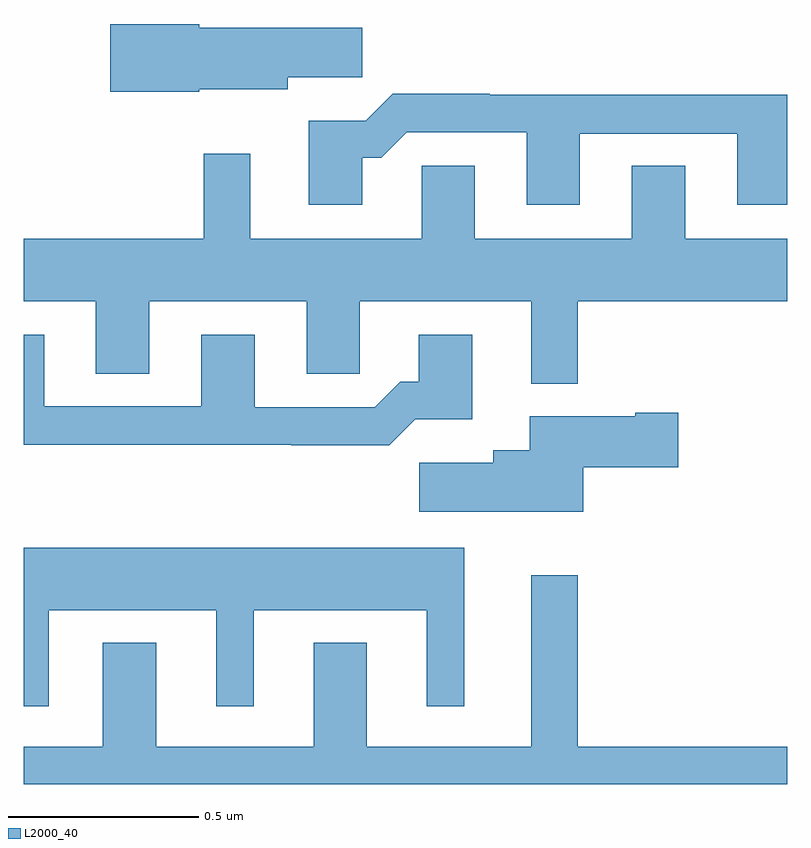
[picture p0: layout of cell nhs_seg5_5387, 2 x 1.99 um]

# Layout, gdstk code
import gdstk
lib = gdstk.Library(unit=1e-6, precision=1e-09)
def P(c, l, *ps):  # polygons
    for p in ps: c.add(gdstk.Polygon(p, *l))
L2000_40 = (2000, 40)

nhs_seg5_5387 = lib.new_cell('nhs_seg5_5387')
P(nhs_seg5_5387, L2000_40, [(182.46,886.619),(182.692,886.619),(182.692,886.651),(182.887,886.651),(182.887,886.78),(182.46,886.78),(182.46,886.79),(182.226,886.79),(182.226,886.612),(182.46,886.612)],
  [(182.887,886.439),(182.936,886.439),(183.003,886.506),(183.317,886.506),(183.317,886.317),(183.457,886.317),(183.457,886.503),(183.869,886.503),(183.869,886.317),(184,886.317),(184,886.604),(183.221,886.604),(183.221,886.607),(182.966,886.607),(182.896,886.537),(182.747,886.537),(182.747,886.317),(182.887,886.317)],
  [(183.451,886.064),(184,886.064),(184,886.228),(183.733,886.228),(183.733,886.418),(183.593,886.418),(183.593,886.228),(183.181,886.228),(183.181,886.418),(183.042,886.418),(183.042,886.228),(182.593,886.228),(182.593,886.45),(182.472,886.45),(182.472,886.228),(182,886.228),(182,886.064),(182.189,886.064),(182.189,885.874),(182.329,885.874),(182.329,886.064),(182.741,886.064),(182.741,885.874),(182.88,885.874),(182.88,886.064),(183.329,886.064),(183.329,885.848),(183.451,885.848)],
  [(183.026,885.755),(183.175,885.755),(183.175,885.976),(183.035,885.976),(183.035,885.853),(182.986,885.853),(182.919,885.786),(182.605,885.786),(182.605,885.976),(182.465,885.976),(182.465,885.789),(182.053,885.789),(182.053,885.976),(182,885.976),(182,885.688),(182.701,885.688),(182.701,885.686),(182.957,885.686)],
  [(183.466,885.629),(183.715,885.629),(183.715,885.771),(183.602,885.771),(183.602,885.763),(183.326,885.763),(183.326,885.673),(183.23,885.673),(183.23,885.641),(183.036,885.641),(183.036,885.512),(183.466,885.512)],
  [(182.065,885.254),(182.504,885.254),(182.504,885.003),(182.602,885.003),(182.602,885.254),(183.056,885.254),(183.056,885.003),(183.154,885.003),(183.154,885.418),(182,885.418),(182,885.003),(182.065,885.003)],
  [(184,884.896),(183.451,884.896),(183.451,885.346),(183.329,885.346),(183.329,884.896),(182.899,884.896),(182.899,885.169),(182.759,885.169),(182.759,884.896),(182.347,884.896),(182.347,885.169),(182.207,885.169),(182.207,884.896),(182,884.896),(182,884.799),(184,884.799)])

lib.write_gds('nhs_seg5_5387.gds')
